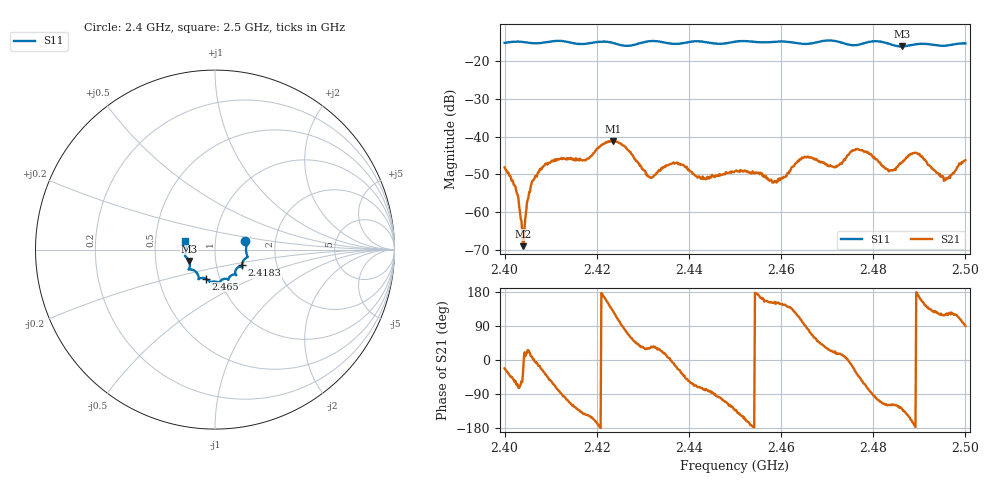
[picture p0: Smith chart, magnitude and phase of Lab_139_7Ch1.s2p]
# Hz S RI R 50
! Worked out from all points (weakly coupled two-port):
!   601 points, 2.4 GHz to 2.5 GHz, reference 50 ohm
!   highest |S21| = -41.13 dB at 2.4235 GHz (marker M1); lowest = -69.1 dB at 2.404 GHz (marker M2)
!   lowest |S11| = -16.1 dB at 2.4862 GHz (marker M3), VSWR 1.37, Z = 37.2 - j4.84 ohm
!   |S11| at or under -10 dB: start of sweep to end of sweep
!   S12 and S22 are empty: the file has one direction only
!   S11 on the Smith chart (normalised r, x): 2.4 GHz: 1.40, +0.14; 2.4183 GHz: 1.33, -0.24; 2.465 GHz: 0.86, -0.28; 2.5 GHz: 0.71, +0.07
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2.4e9  0.1688 0.0473  0.00362 -0.00147  0 0  0 0
2.4025e9  0.1789 0.0353  0.000868 -0.00173  0 0  0 0
2.404e9  0.1782 0.0272  0.000296 -0.00019  0 0  0 0
2.405667e9  0.1741 0.0122  0.00213 0.000389  0 0  0 0
2.407667e9  0.1737 -0.0115  0.0036 -0.00106  0 0  0 0
2.416667e9  0.1546 -0.0682  -0.00356 -0.00336  0 0  0 0
2.418333e9  0.1501 -0.0869  -0.0043 -0.0028  0 0  0 0
2.4235e9  0.1469 -0.0957  -0.00562 0.00674  0 0  0 0
2.431167e9  0.1171 -0.142  0.00254 0.0015  0 0  0 0
2.433333e9  0.1174 -0.1408  0.00299 0.00174  0 0  0 0
2.437e9  0.0908 -0.1437  0.0043 -0.00111  0 0  0 0
2.45e9  0.0261 -0.18  -0.00236 -0.00254  0 0  0 0
2.458667e9  -0.0214 -0.1802  -0.00223 0.00112  0 0  0 0
2.465e9  -0.0524 -0.1614  -0.000338 0.00528  0 0  0 0
2.466667e9  -0.0711 -0.1576  0.00207 0.00485  0 0  0 0
2.471667e9  -0.0906 -0.1624  0.00359 0.00152  0 0  0 0
2.476667e9  -0.1177 -0.1155  0.0052 -0.00445  0 0  0 0
2.483333e9  -0.141 -0.0965  -0.00166 -0.00304  0 0  0 0
2.486167e9  -0.1437 -0.0635  -0.00277 -0.00359  0 0  0 0
2.4895e9  -0.1645 -0.0389  -0.00601 0.00051  0 0  0 0
2.495833e9  -0.1608 0.0139  -0.00141 0.00245  0 0  0 0
2.5e9  -0.1664 0.0467  1.71e-05 0.00488  0 0  0 0
